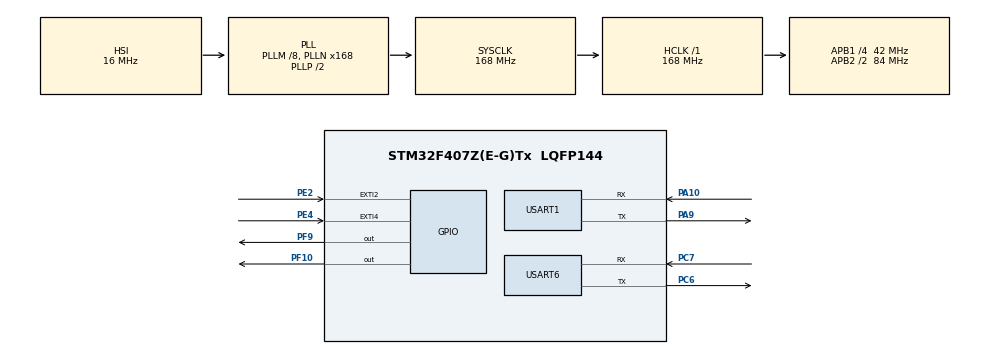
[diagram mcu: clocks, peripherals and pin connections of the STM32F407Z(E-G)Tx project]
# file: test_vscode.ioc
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Mcu.Family=STM32F4
Mcu.Name=STM32F407Z(E-G)Tx
Mcu.Package=LQFP144
NVIC.EXTI2_IRQn=true\:15\:0\:true\:false\:true\:true\:true\:true
NVIC.EXTI4_IRQn=true\:15\:0\:true\:false\:true\:true\:true\:true
NVIC.PriorityGroup=NVIC_PRIORITYGROUP_4
NVIC.USART1_IRQn=true\:13\:0\:true\:false\:true\:true\:true\:true
NVIC.USART6_IRQn=true\:0\:0\:false\:false\:true\:true\:true\:true
PA10.Mode=Asynchronous
PA10.Signal=USART1_RX
PA13.Mode=Serial_Wire
PA13.Signal=SYS_JTMS-SWDIO
PA14.Mode=Serial_Wire
PA14.Signal=SYS_JTCK-SWCLK
PA9.Mode=Asynchronous
PA9.Signal=USART1_TX
PC14-OSC32_IN.Mode=LSE-External-Oscillator
PC14-OSC32_IN.Signal=RCC_OSC32_IN
PC15-OSC32_OUT.Mode=LSE-External-Oscillator
PC15-OSC32_OUT.Signal=RCC_OSC32_OUT
PC6.Mode=Asynchronous
PC6.Signal=USART6_TX
PC7.Mode=Asynchronous
PC7.Signal=USART6_RX
PE2.GPIO_PuPd=GPIO_NOPULL
PE2.Signal=GPXTI2
PE4.GPIO_PuPd=GPIO_NOPULL
PE4.Signal=GPXTI4
PF10.PinState=GPIO_PIN_SET
PF10.Signal=GPIO_Output
PF9.PinState=GPIO_PIN_SET
PF9.Signal=GPIO_Output
ProjectManager.HeapSize=0x200
ProjectManager.StackSize=0x400
ProjectManager.TargetToolchain=CMake
RCC.48MHZClocksFreq_Value=84000000
RCC.AHBFreq_Value=168000000
RCC.APB1CLKDivider=RCC_HCLK_DIV4
RCC.APB1Freq_Value=42000000
RCC.APB1TimFreq_Value=84000000
RCC.APB2CLKDivider=RCC_HCLK_DIV2
RCC.APB2Freq_Value=84000000
RCC.APB2TimFreq_Value=168000000
RCC.CortexFreq_Value=168000000
RCC.HCLKFreq_Value=168000000
RCC.HSE_VALUE=25000000
RCC.HSI_VALUE=16000000
RCC.PLLM=8
RCC.PLLN=168
RCC.SYSCLKFreq_VALUE=168000000
RCC.SYSCLKSource=RCC_SYSCLKSOURCE_PLLCLK
RCC.VCOOutputFreq_Value=336000000
USART1.VirtualMode=VM_ASYNC
USART6.VirtualMode=VM_ASYNC
board=custom

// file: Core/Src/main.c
/* USER CODE BEGIN Header */
/**
  ******************************************************************************
  * @file           : main.c
  * @brief          : Main program body
  ******************************************************************************
  */
/* USER CODE END Header */
#include "main.h"
#include "usart.h"
#include "gpio.h"

/* USER CODE BEGIN Includes */
#include "tjc_screen.h"
#include "dds.h"
#include <stdio.h>
/* USER CODE END Includes */

void SystemClock_Config(void);

int main(void)
{

  /* MCU Configuration--------------------------------------------------------*/
  HAL_Init();
  SystemClock_Config();

  MX_GPIO_Init();
  MX_USART1_UART_Init();
  MX_USART6_UART_Init();
  /* USER CODE BEGIN 2 */

  TJC_Init();
  DDS_Init(2, 200);

  HAL_Delay(800);
  TJC_SetPage("wave");
  HAL_Delay(300);

  /* USER CODE END 2 */

  /* Infinite loop */
  while (1)
  {

    /* USER CODE BEGIN 3 */

    /* ── 按键 ── */
    uint8_t k = TJC_GetKey();
    if (k == 0x01) { DDS_SetWaveform(DDS_SINE);     TJC_SetText("t_wave.txt", "Sine"); }
    if (k == 0x02) { DDS_SetWaveform(DDS_SQUARE);   TJC_SetText("t_wave.txt", "Square"); }
    if (k == 0x03) { DDS_SetWaveform(DDS_TRIANGLE); TJC_SetText("t_wave.txt", "Triangle"); }
    if (k == 0x04) { DDS_SetWaveform(DDS_SAWTOOTH); TJC_SetText("t_wave.txt", "Sawtooth"); }

    /* ── 波形: 200Hz ── */
    static uint32_t wav_tick = 0;
    if (HAL_GetTick() - wav_tick >= 5) {
        wav_tick = HAL_GetTick();
        TJC_WaveAdd(1, 0, DDS_GetNextSample());
    }

    /* ── 信息: 1Hz ── */
    static uint32_t info_tick = 0;
    if (HAL_GetTick() - info_tick >= 1000) {
        info_tick = HAL_GetTick();
        HAL_GPIO_TogglePin(GPIOF, GPIO_PIN_9);
        static int sec = 0; sec++;
        char buf[32];
        sprintf(buf, "%s  %ds", DDS_GetWaveformName(), sec);
        TJC_SetText("t_info.txt", buf);
    }
  }
  /* USER CODE END 3 */
}

void SystemClock_Config(void)
{
  RCC_OscInitTypeDef RCC_OscInitStruct = {0};
  RCC_ClkInitTypeDef RCC_ClkInitStruct = {0};

  __HAL_RCC_PWR_CLK_ENABLE();
  __HAL_PWR_VOLTAGESCALING_CONFIG(PWR_REGULATOR_VOLTAGE_SCALE1);

  RCC_OscInitStruct.OscillatorType = RCC_OSCILLATORTYPE_HSI;
  RCC_OscInitStruct.HSIState = RCC_HSI_ON;
  RCC_OscInitStruct.HSICalibrationValue = RCC_HSICALIBRATION_DEFAULT;
  RCC_OscInitStruct.PLL.PLLState = RCC_PLL_ON;
  RCC_OscInitStruct.PLL.PLLSource = RCC_PLLSOURCE_HSI;
  RCC_OscInitStruct.PLL.PLLM = 8;
  RCC_OscInitStruct.PLL.PLLN = 168;
  RCC_OscInitStruct.PLL.PLLP = RCC_PLLP_DIV2;
  RCC_OscInitStruct.PLL.PLLQ = 4;
  if (HAL_RCC_OscConfig(&RCC_OscInitStruct) != HAL_OK) {
    Error_Handler();
  }

  RCC_ClkInitStruct.ClockType = RCC_CLOCKTYPE_HCLK|RCC_CLOCKTYPE_SYSCLK
                              |RCC_CLOCKTYPE_PCLK1|RCC_CLOCKTYPE_PCLK2;
  RCC_ClkInitStruct.SYSCLKSource = RCC_SYSCLKSOURCE_PLLCLK;
  RCC_ClkInitStruct.AHBCLKDivider = RCC_SYSCLK_DIV1;
  RCC_ClkInitStruct.APB1CLKDivider = RCC_HCLK_DIV4;
  RCC_ClkInitStruct.APB2CLKDivider = RCC_HCLK_DIV2;

  if (HAL_RCC_ClockConfig(&RCC_ClkInitStruct, FLASH_LATENCY_5) != HAL_OK) {
    Error_Handler();
  }
}

void Error_Handler(void)
{
  __disable_irq();
  while (1) { }
}
